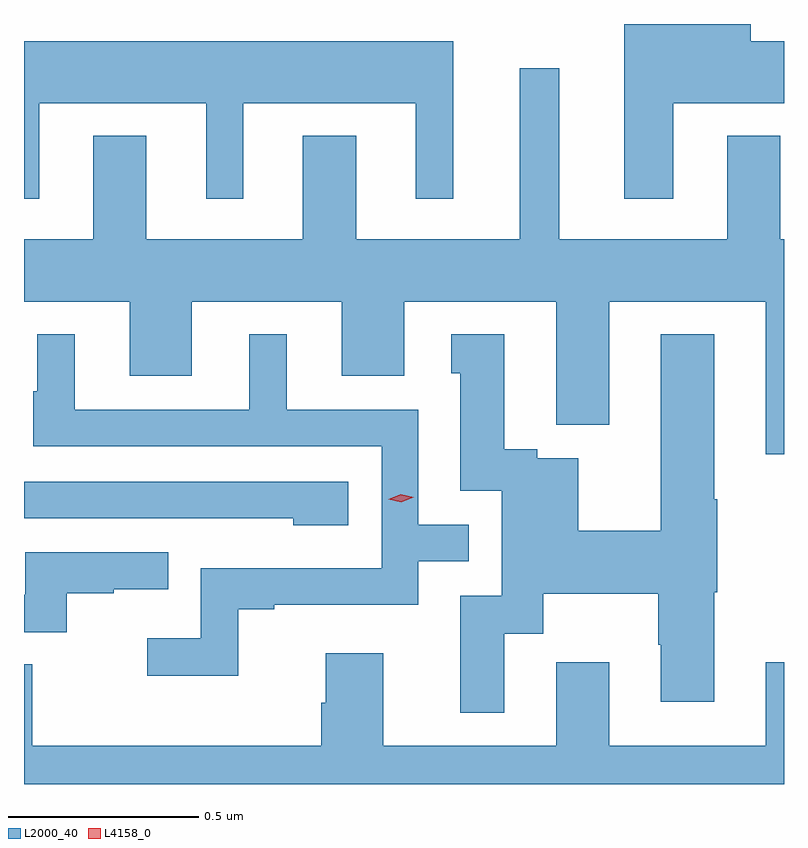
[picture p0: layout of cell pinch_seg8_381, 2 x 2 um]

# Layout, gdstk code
import gdstk
lib = gdstk.Library(unit=1e-6, precision=1e-09)
def P(c, l, *ps):  # polygons
    for p in ps: c.add(gdstk.Polygon(p, *l))
L2000_40 = (2000, 40)
L4158_0 = (4158, 0)

pinch_seg8_381 = lib.new_cell('pinch_seg8_381')
P(pinch_seg8_381, L2000_40, [(400.627,1122.35),(400.919,1122.35),(400.919,1122.514),(400.831,1122.514),(400.831,1122.559),(400.499,1122.559),(400.499,1122.099),(400.627,1122.099)],
  [(398.959,1122.35),(399.398,1122.35),(399.398,1122.099),(399.496,1122.099),(399.496,1122.35),(399.95,1122.35),(399.95,1122.099),(400.048,1122.099),(400.048,1122.514),(398.919,1122.514),(398.919,1122.099),(398.959,1122.099)],
  [(400.919,1121.992),(400.909,1121.992),(400.909,1122.265),(400.769,1122.265),(400.769,1121.992),(400.327,1121.992),(400.327,1122.442),(400.223,1122.442),(400.223,1121.992),(399.793,1121.992),(399.793,1122.265),(399.653,1122.265),(399.653,1121.992),(399.241,1121.992),(399.241,1122.265),(399.101,1122.265),(399.101,1121.992),(398.919,1121.992),(398.919,1121.828),(399.197,1121.828),(399.197,1121.634),(399.361,1121.634),(399.361,1121.828),(399.755,1121.828),(399.755,1121.634),(399.919,1121.634),(399.919,1121.828),(400.319,1121.828),(400.319,1121.505),(400.459,1121.505),(400.459,1121.828),(400.871,1121.828),(400.871,1121.427),(400.919,1121.427)],
  [(400.183,1120.954),(400.285,1120.954),(400.285,1121.06),(400.588,1121.06),(400.588,1120.926),(400.595,1120.926),(400.595,1120.776),(400.735,1120.776),(400.735,1121.064),(400.743,1121.064),(400.743,1121.308),(400.735,1121.308),(400.735,1121.743),(400.595,1121.743),(400.595,1121.225),(400.378,1121.225),(400.378,1121.416),(400.269,1121.416),(400.269,1121.44),(400.183,1121.44),(400.183,1121.743),(400.043,1121.743),(400.043,1121.64),(400.067,1121.64),(400.067,1121.331),(400.176,1121.331),(400.176,1121.055),(400.067,1121.055),(400.067,1120.746),(400.183,1120.746)],
  [(399.483,1121.019),(399.577,1121.019),(399.577,1121.031),(399.957,1121.031),(399.957,1121.145),(400.09,1121.145),(400.09,1121.241),(399.957,1121.241),(399.957,1121.544),(399.61,1121.544),(399.61,1121.743),(399.512,1121.743),(399.512,1121.544),(399.052,1121.544),(399.052,1121.743),(398.954,1121.743),(398.954,1121.592),(398.943,1121.592),(398.943,1121.448),(399.861,1121.448),(399.861,1121.127),(399.384,1121.127),(399.384,1120.942),(399.243,1120.942),(399.243,1120.844),(399.483,1120.844)],
  [(399.772,1121.355),(398.919,1121.355),(398.919,1121.259),(399.391,1121.259),(399.391,1121.258),(399.627,1121.258),(399.627,1121.24),(399.772,1121.24)],
  [(399.032,1121.061),(399.155,1121.061),(399.155,1121.072),(399.299,1121.072),(399.299,1121.169),(398.922,1121.169),(398.922,1121.057),(398.919,1121.057),(398.919,1120.959),(399.032,1120.959)],
  [(400.919,1120.879),(400.871,1120.879),(400.871,1120.66),(400.459,1120.66),(400.459,1120.879),(400.319,1120.879),(400.319,1120.66),(399.865,1120.66),(399.865,1120.903),(399.713,1120.903),(399.713,1120.773),(399.701,1120.773),(399.701,1120.66),(398.941,1120.66),(398.941,1120.874),(398.919,1120.874),(398.919,1120.559),(400.919,1120.559)])
P(pinch_seg8_381, L4158_0, [(399.912,1121.301),(399.877,1121.308),(399.877,1121.308),(399.877,1121.308),(399.91,1121.321),(399.945,1121.313),(399.945,1121.313),(399.945,1121.313)])

lib.write_gds('pinch_seg8_381.gds')
